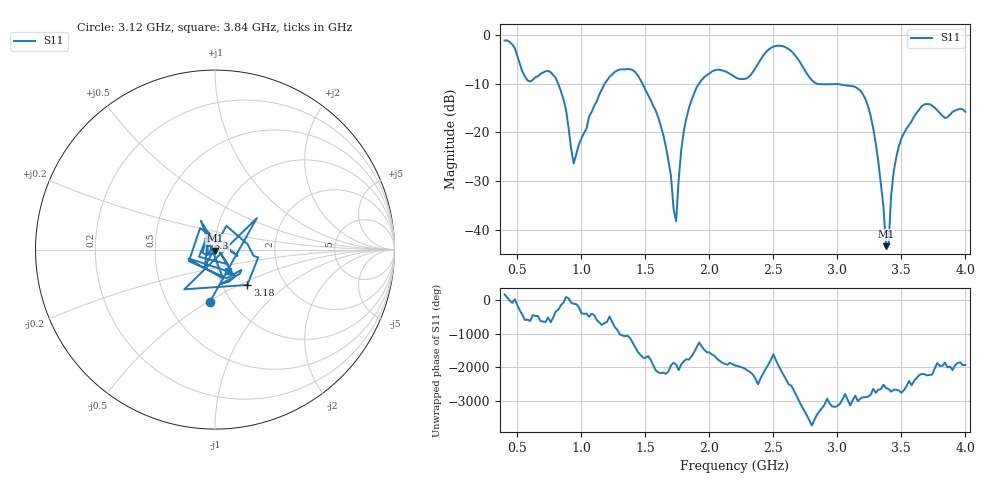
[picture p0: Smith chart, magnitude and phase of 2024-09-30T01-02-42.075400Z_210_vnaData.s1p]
!Created with skrf (http://scikit-rf.org).
# Hz S RI R 50.0
!freq ReS11 ImS11
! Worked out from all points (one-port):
!   181 points, 400 MHz to 4 GHz, reference 50 ohm
!   lowest |S11| = -43.3 dB at 3.38 GHz (marker M1), VSWR 1.01, Z = 49.9 - j0.672 ohm
!   |S11| at or under -10 dB: 818 MHz to 1.182 GHz (364.4 MHz wide, 36.4 % of centre); 1.477 GHz to 1.92 GHz (443 MHz wide, 26.1 % of centre); 2.836 GHz to end of sweep
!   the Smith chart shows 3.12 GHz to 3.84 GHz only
!   S11 on the Smith chart (normalised r, x): 3.12 GHz: 0.79, -0.51; 3.18 GHz: 1.31, -0.55; 3.3 GHz: 0.92, +0.12; 3.84 GHz: 1.12, -0.28
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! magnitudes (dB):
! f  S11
! 400 MHz  -1.2
! 580 MHz  -9.4
! 760 MHz  -7.7
! 860 MHz  -13.3
! 940 MHz  -26.4
! 1.18 GHz  -10.1
! 1.3 GHz  -7.1
! 1.58 GHz  -15.5
! 1.68 GHz  -25.8
! 1.74 GHz  -38.2
! 1.76 GHz  -29.7
! 1.8 GHz  -19.7
! 1.9 GHz  -10.8
! 2.2 GHz  -8.7
! 2.66 GHz  -3.9
! 2.82 GHz  -9.8
! 3.1 GHz  -10.5
! 3.12 GHz  -10.6
! 3.18 GHz  -11.5
! 3.3 GHz  -22.3
! 3.38 GHz  -43.3
! 3.4 GHz  -42.9
! 3.42 GHz  -33.0
! 3.46 GHz  -25.1
! 3.56 GHz  -18.5
! 3.68 GHz  -14.3
! 3.84 GHz  -17.1
! 4 GHz  -15.8
